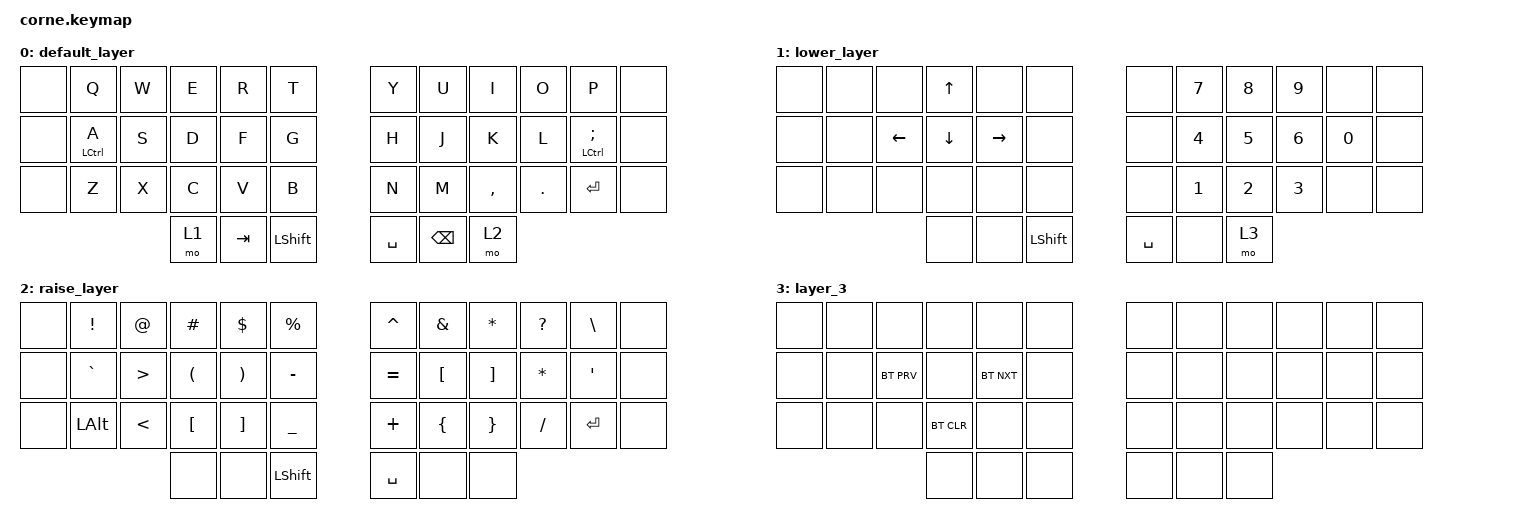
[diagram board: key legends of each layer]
/*
 * Copyright (c) 2020 The ZMK Contributors
 *
 * SPDX-License-Identifier: MIT
 */

#include <behaviors.dtsi>
#include <dt-bindings/zmk/bt.h>
#include <dt-bindings/zmk/keys.h>

/ {
    behaviors {
        hrm: hrm {
            compatible = "zmk,behavior-hold-tap";
            label = "HRM";
            bindings = <&kp>, <&kp>;

            #binding-cells = <2>;
            tapping-term-ms = <200>;
            flavor = "tap-preferred";
            require-prior-idle-ms = <175>;
        };
    };

    combos {
        compatible = "zmk,combos";

        esc_combo {
            bindings = <&kp ESC>;
            key-positions = <1 10>;
        };

        win {
            bindings = <&kp LEFT_GUI>;
            key-positions = <25 34>;
        };
    };

    keymap {
        compatible = "zmk,keymap";

        default_layer {
            // -----------------------------------------------------------------------------------------
            // |  TAB |  Q  |  W  |  E  |  R  |  T  |   |  Y  |  U   |  I  |  O  |  P  | BSPC |
            // | CTRL |  A  |  S  |  D  |  F  |  G  |   |  H  |  J   |  K  |  L  |  ;  |  '   |
            // | SHFT |  Z  |  X  |  C  |  V  |  B  |   |  N  |  M   |  ,  |  .  |  /  | ESC  |
            //                    | GUI | LWR | SPC |   | ENT | RSE  | ALT |

            bindings = <
&none  &kp Q                &kp W  &kp E  &kp R    &kp T             &kp Y      &kp U          &kp I      &kp O    &kp P                        &none
&none  &hrm LEFT_CONTROL A  &kp S  &kp D  &kp F    &kp G             &kp H      &kp J          &kp K      &kp L    &hrm LEFT_CONTROL SEMICOLON  &none
&none  &kp Z                &kp X  &kp C  &kp V    &kp B             &kp N      &kp M          &kp COMMA  &kp DOT  &kp RET                      &none
                                   &mo 1  &kp TAB  &kp LEFT_SHIFT    &kp SPACE  &kp BACKSPACE  &mo 2
            >;
        };

        lower_layer {
            // -----------------------------------------------------------------------------------------
            // |  TAB |  1  |  2  |  3  |  4  |  5  |   |  6  |  7  |  8  |  9  |  0  | BSPC |
            // | BTCLR| BT1 | BT2 | BT3 | BT4 | BT5 |   | LFT | DWN |  UP | RGT |     |      |
            // | SHFT |     |     |     |     |     |   |     |     |     |     |     |      |
            //                    | GUI |     | SPC |   | ENT |     | ALT |

            bindings = <
&none  &none  &none     &kp UP    &none      &none        &none      &kp N7        &kp N8        &kp N9        &none         &none
&none  &none  &kp LEFT  &kp DOWN  &kp RIGHT  &none        &none      &kp NUMBER_4  &kp NUMBER_5  &kp NUMBER_6  &kp NUMBER_0  &none
&none  &none  &none     &none     &none      &none        &none      &kp NUMBER_1  &kp NUMBER_2  &kp NUMBER_3  &none         &none
                        &none     &none      &kp LSHFT    &kp SPACE  &none         &mo 3
            >;
        };

        raise_layer {
            // -----------------------------------------------------------------------------------------
            // |  TAB |  !  |  @  |  #  |  $  |  %  |   |  ^  |  &  |  *  |  (  |  )  | BSPC |
            // | CTRL |     |     |     |     |     |   |  -  |  =  |  [  |  ]  |  \  |  `   |
            // | SHFT |     |     |     |     |     |   |  _  |  +  |  {  |  }  | "|" |  ~   |
            //                    | GUI |     | SPC |   | ENT |     | ALT |

            bindings = <
&none  &kp EXCL      &kp AT            &kp HASH              &kp DLLR               &kp PRCNT         &kp CARET  &kp AMPS        &kp ASTRK        &kp QUESTION  &kp BSLH          &none
&none  &kp GRAVE     &kp GREATER_THAN  &kp LEFT_PARENTHESIS  &kp RIGHT_PARENTHESIS  &kp MINUS         &kp EQUAL  &kp LBKT        &kp RBKT         &kp STAR      &kp SINGLE_QUOTE  &none
&none  &kp LEFT_ALT  &kp LESS_THAN     &kp LBKT              &kp RBKT               &kp UNDERSCORE    &kp PLUS   &kp LEFT_BRACE  &kp RIGHT_BRACE  &kp SLASH     &kp ENTER         &none
                                       &none                 &none                  &kp LSHFT         &kp SPACE  &none           &none
            >;
        };

        layer_3 {
            bindings = <
&none  &none  &none       &none       &none       &none    &none  &none  &none  &none  &none  &none
&none  &none  &bt BT_PRV  &none       &bt BT_NXT  &none    &none  &none  &none  &none  &none  &none
&none  &none  &none       &bt BT_CLR  &none       &none    &none  &none  &none  &none  &none  &none
                          &none       &none       &none    &none  &none  &none
            >;
        };
    };
};
